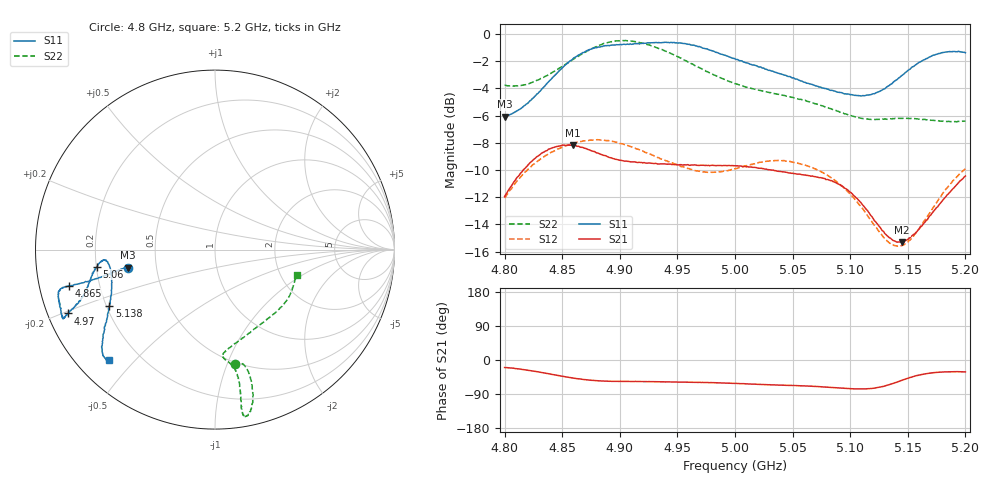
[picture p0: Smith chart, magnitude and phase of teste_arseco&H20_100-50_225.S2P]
! Network Analyzer HP8722D
! Hewlett-Packard
! Data name: Linha & Wilkinson
! Saver's name: Rodrigo Anjos
! Comments: Teste da utilização de aquisição
! continua pelo VNA HP8722D
! Time and date: 6/5/2025 14:26
!  Frequency  S11  S21  S12  S22
# HZ  S  MA R 50
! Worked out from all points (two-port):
!   401 points, 4.8 GHz to 5.2 GHz, reference 50 ohm
!   highest |S21| = -8.17 dB at 4.859 GHz (marker M1); lowest = -15.3 dB at 5.145 GHz (marker M2)
!   |S21| within 3 dB of the highest: 4.806 GHz to 5.093 GHz (286.7 MHz wide, 5.79 % of centre); 5.191521 GHz to end of sweep
!   lowest |S11| = -6.1 dB at 4.8 GHz (marker M3), VSWR 2.97, Z = 17 - j4.57 ohm
!   |S11| at or under -10 dB: nowhere
!   |S22| runs from -6.5 to -0.5 dB; largest |S21 - S12| = 0.62
!   S11 on the Smith chart (normalised r, x): 4.8 GHz: 0.34, -0.09; 4.865 GHz: 0.09, -0.12; 4.97 GHz: 0.06, -0.21; 5.06 GHz: 0.20, -0.07; 5.138 GHz: 0.21, -0.24; 5.2 GHz: 0.09, -0.42
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4.8e9  0.4968 -168.2  0.2526 -19.7  0.2495 -140.9  0.6479 -80.3
4.83e9  0.6119 -166.9  0.3579 -31.9  0.3435 -145.3  0.6796 -75.2
4.859e9  0.8067 -166.0  0.3902 -47.5  0.3951 -150.9  0.8038 -75.0
4.865e9  0.8384 -166.1  0.3849 -50.0  0.4012 -151.8  0.8336 -75.2
4.867e9  0.849 -166.0  0.383 -50.9  0.4025 -152.1  0.8438 -75.4
4.886e9  0.9028 -164.9  0.3576 -55.4  0.4077 -155.3  0.9225 -77.6
4.903e9  0.9156 -162.0  0.3415 -56.3  0.3937 -157.0  0.9443 -79.6
4.934e9  0.9292 -156.5  0.3327 -57.7  0.3506 -155.7  0.8832 -80.5
4.949e9  0.9265 -155.6  0.3313 -57.9  0.3308 -153.1  0.8291 -80.2
4.97e9  0.8951 -156.6  0.329 -59.2  0.3122 -147.0  0.7474 -79.7
5e9  0.8103 -159.2  0.3275 -62.0  0.3195 -137.3  0.6562 -81.4
5.035e9  0.723 -165.4  0.3143 -65.8  0.3422 -134.5  0.6025 -85.7
5.06e9  0.6638 -171.8  0.303 -68.3  0.3302 -136.1  0.5695 -84.3
5.067e9  0.6519 -173.1  0.3006 -69.3  0.3228 -136.8  0.5581 -82.6
5.087e9  0.6157 -174.5  0.2845 -73.2  0.289 -138.7  0.5235 -74.8
5.103e9  0.5956 -171.5  0.2547 -76.2  0.2496 -138.8  0.4973 -65.2
5.117e9  0.5969 -164.9  0.2179 -75.6  0.2091 -135.1  0.4852 -55.1
5.134e9  0.6466 -154.3  0.1781 -65.3  0.1705 -120.6  0.4869 -43.3
5.138e9  0.6681 -151.8  0.1735 -60.9  0.167 -115.4  0.4876 -40.7
5.145e9  0.7039 -148.2  0.1716 -53.4  0.1668 -106.1  0.4889 -37.0
5.174e9  0.839 -138.5  0.227 -32.9  0.2366 -80.5  0.4801 -23.9
5.2e9  0.8524 -133.7  0.3004 -31.4  0.3193 -77.0  0.4777 -17.6
